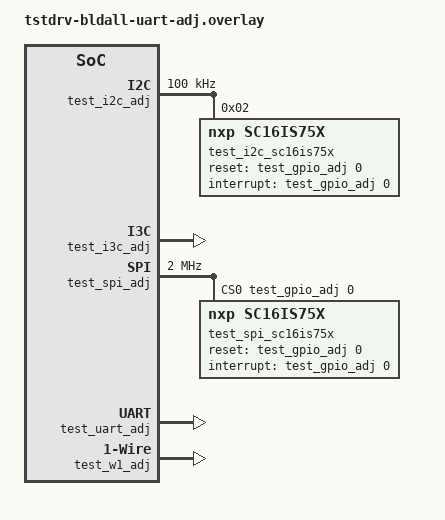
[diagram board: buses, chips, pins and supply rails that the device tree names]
/*
 * Copyright (c) 2024-2025 TiaC Systems
 *
 * SPDX-License-Identifier: Apache-2.0
 *
 * Snipped overlay for testing driver builds
 *
 * Names in this file should be chosen in a way that won't conflict
 * with real-world devicetree nodes, to allow these tests to run on
 * (and be extended to test) real hardware.
 */

#include <freq.h>
#include <zephyr/dt-bindings/i2c/i2c.h>

/ {
	test: test {
		#address-cells = <1>;
		#size-cells = <1>;
	};
};

&test {
	test_fixed_clk_adj: test-fixed-clk-adj {
		compatible = "fixed-clock";
		status = "okay";
		#clock-cells = <0>;
		clock-frequency = <0>;
	};

	test_gpio_adj: gpio@feedface {
		compatible = "vnd,gpio";
		status = "okay";
		reg = <0xfeedface 0x1000>;
		gpio-controller;
		#gpio-cells = <0x2>;
	};

	test_i2c_adj: i2c@aaaabbbb {
		compatible = "vnd,i2c";
		status = "okay";
		reg = <0xaaaabbbb 0x1000>;
		#address-cells = <1>;
		#size-cells = <0>;
		clock-frequency = <I2C_BITRATE_STANDARD>;

		test_i2c_sc16is75x: sc16is75x-i2c@2 {
			compatible = "nxp,sc16is75x";
			status = "okay";
			reg = <0x2>;
			#address-cells = <1>;
			#size-cells = <0>;
			clock = <&test_fixed_clk_adj>;
			reset-gpios = <&test_gpio_adj 0 0>;
			interrupt-gpios = <&test_gpio_adj 0 0>;

			test_i2c_sc16is75x_uart_0: sc16is75x-i2c-uart@0 {
				compatible = "nxp,sc16is75x-uart";
				status = "okay";
				reg = <0>;
			};

			test_i2c_sc16is75x_uart_1: sc16is75x-i2c-uart@1 {
				compatible = "nxp,sc16is75x-uart";
				status = "okay";
				reg = <1>;
			};
		};
	};

	test_i3c_adj: i3c@bbbbaaaa {
		compatible = "vnd,i3c";
		status = "okay";
		reg = <0xbbbbaaaa 0x1000>;
		#address-cells = <3>;
		#size-cells = <0>;
	};

	test_spi_adj: spi@ccccdddd {
		compatible = "vnd,spi";
		status = "okay";
		reg = <0xccccdddd 0x1000>;
		#address-cells = <1>;
		#size-cells = <0>;
		clock-frequency = <DT_FREQ_M(2)>;

		/* one entry for every devices */
		cs-gpios = <&test_gpio_adj 0 0>;

		test_spi_sc16is75x: sc16is75x-spi@0 {
			compatible = "nxp,sc16is75x";
			status = "okay";
			reg = <0x0>;
			spi-max-frequency = <0>;
			#address-cells = <1>;
			#size-cells = <0>;
			clock = <&test_fixed_clk_adj>;
			reset-gpios = <&test_gpio_adj 0 0>;
			interrupt-gpios = <&test_gpio_adj 0 0>;

			test_spi_sc16is75x_uart_0: sc16is75x-spi-uart@0 {
				compatible = "nxp,sc16is75x-uart";
				status = "okay";
				reg = <0>;
			};

			test_spi_sc16is75x_uart_1: sc16is75x-spi-uart@1 {
				compatible = "nxp,sc16is75x-uart";
				status = "okay";
				reg = <1>;
			};
		};
	};

	test_uart_adj: uart@eeeeffff {
		compatible = "vnd,serial";
		status = "okay";
		reg = <0xeeeeffff 0x1000>;
	};

	test_w1_adj: w1@ffffeeee {
		compatible = "vnd,w1";
		status = "okay";
		reg = <0xffffeeee 0x1000>;
		#address-cells = <1>;
		#size-cells = <0>;
		ranges = <0 0>;
	};
};
